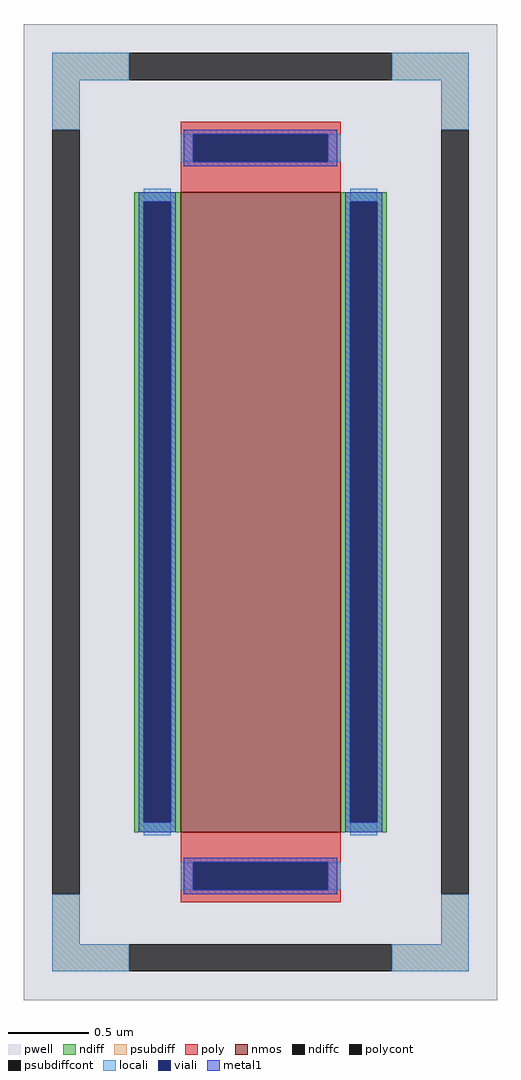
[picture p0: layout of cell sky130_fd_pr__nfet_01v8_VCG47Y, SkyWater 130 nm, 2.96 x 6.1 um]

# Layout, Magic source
magic
tech sky130A
magscale 1 2
<< pwell >>
rect -296 -610 296 610
<< nmos >>
rect -100 -400 100 400
<< ndiff >>
rect -158 388 -100 400
rect -158 -388 -146 388
rect -112 -388 -100 388
rect -158 -400 -100 -388
rect 100 388 158 400
rect 100 -388 112 388
rect 146 -388 158 388
rect 100 -400 158 -388
<< ndiffc >>
rect -146 -388 -112 388
rect 112 -388 146 388
<< psubdiff >>
rect -260 540 -164 574
rect 164 540 260 574
rect -260 478 -226 540
rect 226 478 260 540
rect -260 -540 -226 -478
rect 226 -540 260 -478
rect -260 -574 -164 -540
rect 164 -574 260 -540
<< psubdiffcont >>
rect -164 540 164 574
rect -260 -478 -226 478
rect 226 -478 260 478
rect -164 -574 164 -540
<< poly >>
rect -100 472 100 488
rect -100 438 -84 472
rect 84 438 100 472
rect -100 400 100 438
rect -100 -438 100 -400
rect -100 -472 -84 -438
rect 84 -472 100 -438
rect -100 -488 100 -472
<< polycont >>
rect -84 438 84 472
rect -84 -472 84 -438
<< locali >>
rect -260 540 -164 574
rect 164 540 260 574
rect -260 478 -226 540
rect 226 478 260 540
rect -100 438 -84 472
rect 84 438 100 472
rect -146 388 -112 404
rect -146 -404 -112 -388
rect 112 388 146 404
rect 112 -404 146 -388
rect -100 -472 -84 -438
rect 84 -472 100 -438
rect -260 -540 -226 -478
rect 226 -540 260 -478
rect -260 -574 -164 -540
rect 164 -574 260 -540
<< viali >>
rect -84 438 84 472
rect -146 -388 -112 388
rect 112 -388 146 388
rect -84 -472 84 -438
<< metal1 >>
rect -96 472 96 478
rect -96 438 -84 472
rect 84 438 96 472
rect -96 432 96 438
rect -152 388 -106 400
rect -152 -388 -146 388
rect -112 -388 -106 388
rect -152 -400 -106 -388
rect 106 388 152 400
rect 106 -388 112 388
rect 146 -388 152 388
rect 106 -400 152 -388
rect -96 -438 96 -432
rect -96 -472 -84 -438
rect 84 -472 96 -438
rect -96 -478 96 -472
<< properties >>
string FIXED_BBOX -243 -557 243 557
string gencell sky130_fd_pr__nfet_01v8
string library sky130
string parameters w 4 l 1 m 1 nf 1 diffcov 100 polycov 100 guard 1 glc 1 grc 1 gtc 1 gbc 1 tbcov 100 rlcov 100 topc 1 botc 1 poverlap 0 doverlap 1 lmin 0.15 wmin 0.42 compatible {sky130_fd_pr__nfet_01v8 sky130_fd_pr__nfet_01v8_lvt  sky130_fd_bs_flash__special_sonosfet_star  sky130_fd_pr__nfet_g5v0d10v5 sky130_fd_pr__nfet_05v0_nvt  sky130_fd_pr__nfet_03v3_nvt} full_metal 1 viasrc 100 viadrn 100 viagate 100 viagb 0 viagr 0 viagl 0 viagt 0
<< end >>
